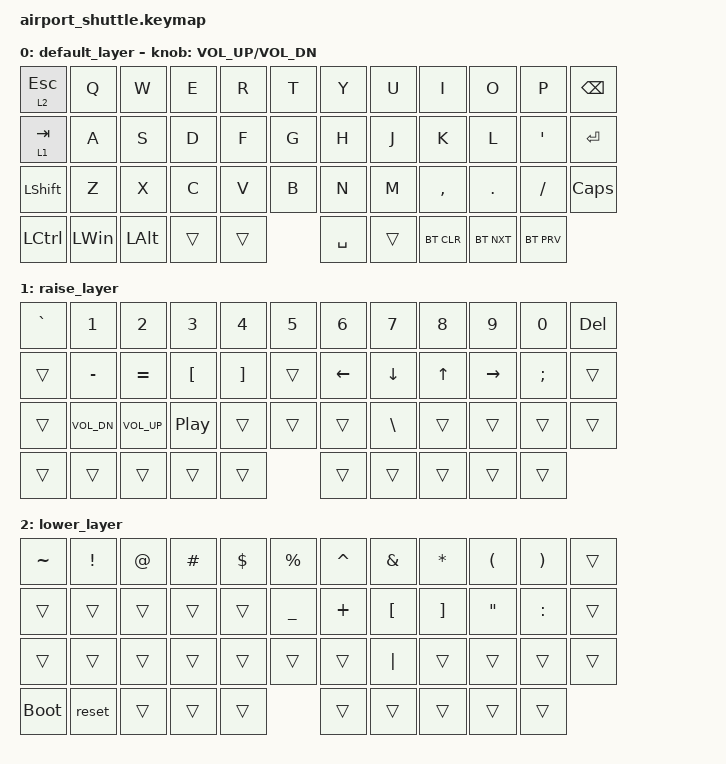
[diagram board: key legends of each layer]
#include <behaviors.dtsi>
#include <dt-bindings/zmk/keys.h>
#include <dt-bindings/zmk/bt.h>

/ {
  keymap {
    compatible = "zmk,keymap";

    default_layer {
// -----------------------------------------------------------------------------------------
// |  ESC  |  Q   |  W   |  E   |  R   |  T   |   Y   |  U    |  I   |  O   |   P   |  BSPC  |
// |  TAB  |  A   |  S   |  D   |  F   |  G   |   H   |  J    |  K   |  L   |   '   |  RET   |
// | SHIFT |  Z   |  X   |  C   |  V   |  B   |   N   |  M    |  ,   |  .   |   /   |  CAPS  |
// | LCTRL | LGUI | LCTRL | ---  | ---- |     SPACE    |  ---- | ---- | BT CLR | BT 0 |  BT NXT |
      bindings = <
  &lt 2 ESC  &kp Q  &kp W  &kp E  &kp R  &kp T  &kp Y  &kp U  &kp I    &kp O   &kp P      &kp BKSP
  &lt 1 TAB  &kp A  &kp S  &kp D  &kp F  &kp G  &kp H  &kp J  &kp K    &kp L   &kp SQT    &kp RET
  &kp LSHFT  &kp Z  &kp X  &kp C  &kp V  &kp B  &kp N  &kp M  &kp CMMA &kp DOT &kp SLASH  &kp CAPS
  &kp LCTRL  &kp LWIN &kp LALT &trans &trans &kp SPC &trans &bt BT_CLR &bt BT_NXT &bt BT_PRV
      >;
      sensor-bindings = <&inc_dec_kp C_VOL_UP C_VOL_DN>;
    };

    raise_layer {
// -----------------------------------------------------------------------------------------
// |  `    |  1   |  2   |  3   |  4   |  5   |   6   |  7    |  8   |  9   |   0   |  DEL   |
// |  trn  |  -   |  =  |  [   |  ]   |  trn   |   LFT   |  DWN    |  UP   |  RGHT   |   ;  |  trn   |
// |  trn  |  trn  |  trn  |  trn   |  trn   |  trn   |   trn   |  \    |  trn  |  trn  |   /   |  trn   |
// |  trn  |  trn | trns | ---  | ---- |     trns     |  ---- | ---- | RGUI | RALT  |  RCTRL |
      bindings = <
      &kp GRAVE &kp NUM_1 &kp NUM_2 &kp NUM_3 &kp NUM_4 &kp NUM_5 &kp NUM_6 &kp NUM_7 &kp NUM_8 &kp NUM_9 &kp NUM_0 &kp DEL
      &trans &kp MINUS &kp EQUAL &kp LBKT &kp RBKT &trans &kp LEFT &kp DOWN &kp UP &kp RIGHT &kp SEMI &trans
      &trans &kp C_VOL_DN &kp C_VOL_UP &kp C_PP &trans &trans &trans &kp BSLH &trans &trans &trans &trans
      &trans &trans &trans &trans &trans &trans &trans &trans &trans &trans
      >;
    };

    lower_layer {
      bindings = <
      &kp TILDE &kp EXCL &kp AT &kp POUND &kp DLLR &kp PRCNT &kp CARET &kp AMPS &kp STAR &kp LPAR &kp RPAR &trans
      &trans &trans &trans &trans &trans &kp UNDER &kp PLUS &kp LBKT &kp RBKT &kp DQT &kp COLON &trans
      &trans &trans &trans &trans &trans &trans &trans &kp PIPE &trans &trans &trans &trans
      &bootloader &reset &trans &trans &trans &trans &trans &trans &trans &trans
      >;
    };
  };
};
